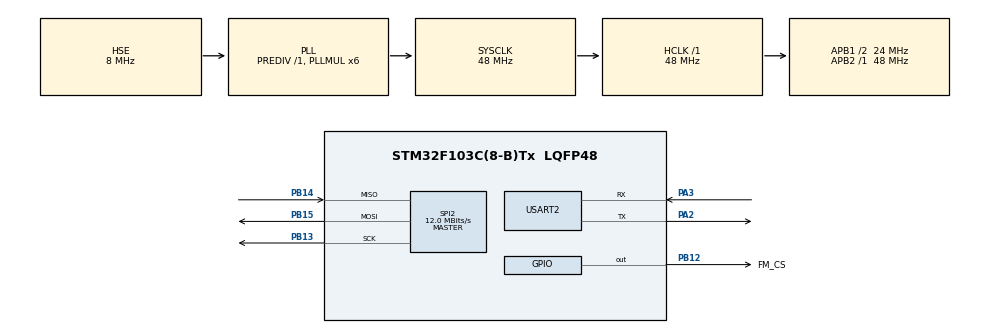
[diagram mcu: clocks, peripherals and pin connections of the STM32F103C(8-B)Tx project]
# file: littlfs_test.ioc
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Mcu.Family=STM32F1
Mcu.Name=STM32F103C(8-B)Tx
Mcu.Package=LQFP48
NVIC.PriorityGroup=NVIC_PRIORITYGROUP_4
NVIC.USART2_IRQn=true\:0\:0\:false\:false\:true\:true\:true
PA13.Mode=Serial_Wire
PA13.Signal=SYS_JTMS-SWDIO
PA14.Mode=Serial_Wire
PA14.Signal=SYS_JTCK-SWCLK
PA2.Mode=Asynchronous
PA2.Signal=USART2_TX
PA3.Mode=Asynchronous
PA3.Signal=USART2_RX
PB12.GPIO_Label=FM_CS
PB12.Signal=GPIO_Output
PB13.Mode=Full_Duplex_Master
PB13.Signal=SPI2_SCK
PB14.Mode=Full_Duplex_Master
PB14.Signal=SPI2_MISO
PB15.Mode=Full_Duplex_Master
PB15.Signal=SPI2_MOSI
PD0-OSC_IN.Mode=HSE-External-Oscillator
PD0-OSC_IN.Signal=RCC_OSC_IN
PD1-OSC_OUT.Mode=HSE-External-Oscillator
PD1-OSC_OUT.Signal=RCC_OSC_OUT
ProjectManager.HeapSize=0x200
ProjectManager.StackSize=0x400
ProjectManager.TargetToolchain=STM32CubeIDE
RCC.AHBFreq_Value=48000000
RCC.APB1CLKDivider=RCC_HCLK_DIV2
RCC.APB1Freq_Value=24000000
RCC.APB1TimFreq_Value=48000000
RCC.APB2Freq_Value=48000000
RCC.APB2TimFreq_Value=48000000
RCC.HCLKFreq_Value=48000000
RCC.PLLMUL=RCC_PLL_MUL6
RCC.PLLSourceVirtual=RCC_PLLSOURCE_HSE
RCC.SYSCLKFreq_VALUE=48000000
RCC.SYSCLKSource=RCC_SYSCLKSOURCE_PLLCLK
RCC.USBFreq_Value=48000000
SPI2.CalculateBaudRate=12.0 MBits/s
SPI2.Direction=SPI_DIRECTION_2LINES
SPI2.Mode=SPI_MODE_MASTER
SPI2.VirtualType=VM_MASTER
USART2.VirtualMode=VM_ASYNC
board=custom

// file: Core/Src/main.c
/* USER CODE BEGIN Header */
/**
 ******************************************************************************
 * @file           : main.c
 * @brief          : Main program body
 ******************************************************************************
 * @attention
 *
 * <h2><center>&copy; Copyright (c) 2024 STMicroelectronics.
 * All rights reserved.</center></h2>
 *
 * This software component is licensed by ST under BSD 3-Clause license,
 * the "License"; You may not use this file except in compliance with the
 * License. You may obtain a copy of the License at:
 *                        opensource.org/licenses/BSD-3-Clause
 *
 ******************************************************************************
 */
/* USER CODE END Header */
#include "main.h"

/* USER CODE BEGIN Includes */
#include "stdarg.h"
#include "lfs_util.h"
#include "lfs.h"
#include "MT25Q.h"
/* USER CODE END Includes */

/* USER CODE BEGIN PD */
//#define CDC_USB_DEBUG
#define UART_DEBUG
//internal
typedef struct{
	uint32_t secCount;
	uint32_t bootCount;
}app_count_t;
/* USER CODE END PD */

/* USER CODE BEGIN PM */
void myprintf(const char *fmt, ...);
/* USER CODE END PM */

SPI_HandleTypeDef hspi2;

UART_HandleTypeDef huart2;

/* USER CODE BEGIN PV */
uint8_t DEBUG_DATA_RX_FLAG = 0;
// variables used by the filesystem
lfs_t lfs;
lfs_file_t file;
int erase_done = 0;
int mount_done = 0;
int format_done = 0;

//internal
lfs_t Lfs;
struct lfs_config LfsConfig;

app_count_t Counter = {0};
/* USER CODE END PV */

void SystemClock_Config(void);
static void MX_GPIO_Init(void);
static void MX_SPI2_Init(void);
static void MX_USART2_UART_Init(void);

/* USER CODE BEGIN 0 */

//int block_device_read(const struct lfs_config *c, lfs_block_t block,
//		lfs_off_t off, void *buffer, lfs_size_t size) {
//	Bulk_Read_4B(&hspi2, (block * c->block_size + off), (uint8_t*) buffer,
//			size);
//	return 0;
//}
//
//int block_device_prog(const struct lfs_config *c, lfs_block_t block,
//		lfs_off_t off, const void *buffer, lfs_size_t size) {
//	Page_Write_4B(&hspi2, (block * c->block_size + off), (uint8_t *) buffer,
//			size);
//	return 0;
//}
//
//int block_device_erase(const struct lfs_config *c, lfs_block_t block){
//	Sector_Erase_4B(&hspi2, block, 4);
//	return 0;
//}
//
//
//int block_device_sync(const struct lfs_config *c){
//	return 0;
//}
//
//const struct lfs_config cfg = {
//    // block device operations
//    .read  = block_device_read,
//    .prog  = block_device_prog,
//    .erase = block_device_erase,
//	.sync  = block_device_sync,
//
//    // block device configuration
//    .read_size = 1,
//    .prog_size = 1,
//    .block_size = 65536,
//    .block_count = 2048,
//    .cache_size = 16,
//    .lookahead_size = 16,
//    .block_cycles = 500,
//};

//internal
int _flash_read(const struct lfs_config *c, lfs_block_t block,
        lfs_off_t off, void *buffer, lfs_size_t size){

	uint32_t StartAddress, i;
	uint32_t *Bff;

	StartAddress = 0x0800D800 + (block*c->block_size) + off;

	Bff = (uint32_t*)buffer;
	for (i=0 ; i<(size/4) ; i++){
		*Bff = *(__IO uint32_t*)StartAddress;
		StartAddress += 4;
		Bff++;
	}

	return LFS_ERR_OK;
}

// Program a region in a block. The block must have previously
// been erased. Negative error codes are propagated to the user.
// May return LFS_ERR_CORRUPT if the block should be considered bad.
int _flash_prog(const struct lfs_config *c, lfs_block_t block,
        lfs_off_t off, const void *buffer, lfs_size_t size){
	uint32_t StartAddress, i;
	uint32_t *Bff;

	StartAddress = 0x0800D800 + (block*c->block_size) + off;
	Bff = (uint32_t*)buffer;

	HAL_FLASH_Unlock();
	for (i=0 ; i<(size/4) ; i++){
		HAL_FLASH_Program(FLASH_TYPEPROGRAM_WORD, StartAddress, (uint64_t)(*Bff));
		StartAddress += 4;
		Bff++;
	}
	HAL_FLASH_Lock();

	return LFS_ERR_OK;
}

// Erase a block. A block must be erased before being programmed.
// The state of an erased block is undefined. Negative error codes
// are propagated to the user.
// May return LFS_ERR_CORRUPT if the block should be considered bad.
int _flash_erase(const struct lfs_config *c, lfs_block_t block){
	uint32_t StartAddress;
	uint32_t PageErr;
	FLASH_EraseInitTypeDef EraseInitStruct;

	StartAddress = 0x0800D800 + (block*c->block_size);
	EraseInitStruct.TypeErase = FLASH_TYPEERASE_PAGES;
	EraseInitStruct.PageAddress = StartAddress;
	EraseInitStruct.NbPages = 1;
	EraseInitStruct.Banks = FLASH_BANK_1;
	HAL_FLASH_Unlock();
	HAL_FLASHEx_Erase(&EraseInitStruct, &PageErr);
	HAL_FLASH_Lock();

	return LFS_ERR_OK;
}

// Sync the state of the underlying block device. Negative error codes
// are propagated to the user.
int _flash_sync(const struct lfs_config *c){
	return LFS_ERR_OK;
}

void __init_storage(){
	int32_t error;

	LfsConfig.read_size = 64;
	LfsConfig.prog_size = 64;
	LfsConfig.block_size = 1024;
	LfsConfig.block_count = 10;
	LfsConfig.cache_size = 256;
	LfsConfig.lookahead_size = 8;
	LfsConfig.block_cycles = 1000;

	LfsConfig.read = _flash_read;
	LfsConfig.prog = _flash_prog;
	LfsConfig.erase = _flash_erase;
	LfsConfig.sync = _flash_sync;

	error = lfs_mount(&Lfs, &LfsConfig);
	if (error != LFS_ERR_OK){
		lfs_format(&Lfs, &LfsConfig);
		error = lfs_mount(&Lfs, &LfsConfig);
		if (error != LFS_ERR_OK){
			Error_Handler();
		}
	}
}
/* USER CODE END 0 */

int main(void)
{
  /* USER CODE BEGIN 1 */
	uint32_t HalTickAux;
	lfs_file_t File;
  /* USER CODE END 1 */

  /* MCU Configuration--------------------------------------------------------*/

  /* Reset of all peripherals, Initializes the Flash interface and the Systick. */
  HAL_Init();

  /* Configure the system clock */
  SystemClock_Config();

  /* Initialize all configured peripherals */
  MX_GPIO_Init();
  MX_SPI2_Init();
  MX_USART2_UART_Init();
  /* USER CODE BEGIN 2 */
//  int add = 0;
//  for(int i=0;i<300;i++){
//	  Sector_Erase_4B(&hspi2, add, 64);
//	  add+=65536;
//  }
  erase_done = 1;
//  myprintf("Starting LittleFS application...\n");
  //internal
  HAL_Delay(100);
   __init_storage();

   lfs_file_open(&Lfs, &File, "count.bin", LFS_O_RDONLY | LFS_O_CREAT);
   lfs_file_read(&Lfs, &File, &Counter, sizeof(app_count_t));
   lfs_file_close(&Lfs, &File);

   Counter.bootCount += 1;
  /* USER CODE END 2 */

  /* Infinite loop */
	while (1) {

    /* USER CODE BEGIN 3 */
//		int err = lfs_mount(&lfs, &cfg);
//
//		// reformat if we can't mount the filesystem
//		// this should only happen on the first boot
//		if (err) {
//			format_done = lfs_format(&lfs, &cfg);
//			mount_done = lfs_mount(&lfs, &cfg);
//		}
//		// read current count
//		uint32_t boot_count = 0;
//		int ret = lfs_file_open(&lfs, &file, "boot_count.txt", LFS_O_CREAT);
//		if(ret < 0){
//			myprintf("Unable to open file...\n Trying again...\n");
//			ret = lfs_file_open(&lfs, &file, "boot_count.txt", LFS_O_RDONLY | LFS_O_CREAT);
//		}
//		int ret1 = lfs_file_read(&lfs, &file, &boot_count, sizeof(boot_count));
//
//		// update boot count
//		boot_count += 1;
//		lfs_file_rewind(&lfs, &file);
//		lfs_file_write(&lfs, &file, &boot_count, sizeof(boot_count));
//
//		// remember the storage is not updated until the file is closed successfully
//		lfs_file_close(&lfs, &file);
//
//		// release any resources we were using
//		lfs_unmount(&lfs);
//
//		// print the boot count
//		myprintf("boot_count: %d\n", (uint8_t)boot_count);
		//internal

		  HalTickAux = HAL_GetTick();

		  lfs_file_open(&Lfs, &File, "count.bin", LFS_O_RDWR | LFS_O_CREAT);
		  lfs_file_write(&Lfs, &File, &Counter, sizeof(app_count_t));
		  lfs_file_close(&Lfs, &File);

		  while ((HAL_GetTick() - HalTickAux) < 1000);

		  Counter.secCount += 1;
	}
  /* USER CODE END 3 */
}

void SystemClock_Config(void)
{
  RCC_OscInitTypeDef RCC_OscInitStruct = {0};
  RCC_ClkInitTypeDef RCC_ClkInitStruct = {0};

  /** Initializes the RCC Oscillators according to the specified parameters
  * in the RCC_OscInitTypeDef structure.
  */
  RCC_OscInitStruct.OscillatorType = RCC_OSCILLATORTYPE_HSE;
  RCC_OscInitStruct.HSEState = RCC_HSE_ON;
  RCC_OscInitStruct.HSEPredivValue = RCC_HSE_PREDIV_DIV1;
  RCC_OscInitStruct.HSIState = RCC_HSI_ON;
  RCC_OscInitStruct.PLL.PLLState = RCC_PLL_ON;
  RCC_OscInitStruct.PLL.PLLSource = RCC_PLLSOURCE_HSE;
  RCC_OscInitStruct.PLL.PLLMUL = RCC_PLL_MUL6;
  if (HAL_RCC_OscConfig(&RCC_OscInitStruct) != HAL_OK)
  {
    Error_Handler();
  }
  /** Initializes the CPU, AHB and APB buses clocks
  */
  RCC_ClkInitStruct.ClockType = RCC_CLOCKTYPE_HCLK|RCC_CLOCKTYPE_SYSCLK
                              |RCC_CLOCKTYPE_PCLK1|RCC_CLOCKTYPE_PCLK2;
  RCC_ClkInitStruct.SYSCLKSource = RCC_SYSCLKSOURCE_PLLCLK;
  RCC_ClkInitStruct.AHBCLKDivider = RCC_SYSCLK_DIV1;
  RCC_ClkInitStruct.APB1CLKDivider = RCC_HCLK_DIV2;
  RCC_ClkInitStruct.APB2CLKDivider = RCC_HCLK_DIV1;

  if (HAL_RCC_ClockConfig(&RCC_ClkInitStruct, FLASH_LATENCY_1) != HAL_OK)
  {
    Error_Handler();
  }
}

static void MX_SPI2_Init(void)
{

  /* SPI2 parameter configuration*/
  hspi2.Instance = SPI2;
  hspi2.Init.Mode = SPI_MODE_MASTER;
  hspi2.Init.Direction = SPI_DIRECTION_2LINES;
  hspi2.Init.DataSize = SPI_DATASIZE_8BIT;
  hspi2.Init.CLKPolarity = SPI_POLARITY_LOW;
  hspi2.Init.CLKPhase = SPI_PHASE_1EDGE;
  hspi2.Init.NSS = SPI_NSS_SOFT;
  hspi2.Init.BaudRatePrescaler = SPI_BAUDRATEPRESCALER_2;
  hspi2.Init.FirstBit = SPI_FIRSTBIT_MSB;
  hspi2.Init.TIMode = SPI_TIMODE_DISABLE;
  hspi2.Init.CRCCalculation = SPI_CRCCALCULATION_DISABLE;
  hspi2.Init.CRCPolynomial = 10;
  if (HAL_SPI_Init(&hspi2) != HAL_OK)
  {
    Error_Handler();
  }

}

static void MX_USART2_UART_Init(void)
{

  huart2.Instance = USART2;
  huart2.Init.BaudRate = 115200;
  huart2.Init.WordLength = UART_WORDLENGTH_8B;
  huart2.Init.StopBits = UART_STOPBITS_1;
  huart2.Init.Parity = UART_PARITY_NONE;
  huart2.Init.Mode = UART_MODE_TX_RX;
  huart2.Init.HwFlowCtl = UART_HWCONTROL_NONE;
  huart2.Init.OverSampling = UART_OVERSAMPLING_16;
  if (HAL_UART_Init(&huart2) != HAL_OK)
  {
    Error_Handler();
  }

}

static void MX_GPIO_Init(void)
{
  GPIO_InitTypeDef GPIO_InitStruct = {0};

  /* GPIO Ports Clock Enable */
  __HAL_RCC_GPIOD_CLK_ENABLE();
  __HAL_RCC_GPIOA_CLK_ENABLE();
  __HAL_RCC_GPIOB_CLK_ENABLE();

  /*Configure GPIO pin Output Level */
  HAL_GPIO_WritePin(FM_CS_GPIO_Port, FM_CS_Pin, GPIO_PIN_RESET);

  /*Configure GPIO pin : FM_CS_Pin */
  GPIO_InitStruct.Pin = FM_CS_Pin;
  GPIO_InitStruct.Mode = GPIO_MODE_OUTPUT_PP;
  GPIO_InitStruct.Pull = GPIO_NOPULL;
  GPIO_InitStruct.Speed = GPIO_SPEED_FREQ_LOW;
  HAL_GPIO_Init(FM_CS_GPIO_Port, &GPIO_InitStruct);

}

/* USER CODE BEGIN 4 */
void myprintf(const char *fmt, ...) {
    va_list args;
    va_start(args, fmt);
    char buffer[100];
    vsnprintf(buffer, sizeof(buffer), fmt, args);
    HAL_UART_Transmit(&huart2, (uint8_t*) buffer, strlen(buffer), HAL_MAX_DELAY);
    va_end(args);
}

int bufferSize(char *buffer) {
    int i = 0;
    while (*buffer++ != '\0')
        i++;
    return i;
}
/* USER CODE END 4 */

void Error_Handler(void)
{
	__disable_irq();
	while (1) {
	}
}

/************************ (C) COPYRIGHT STMicroelectronics *****END OF FILE****/
